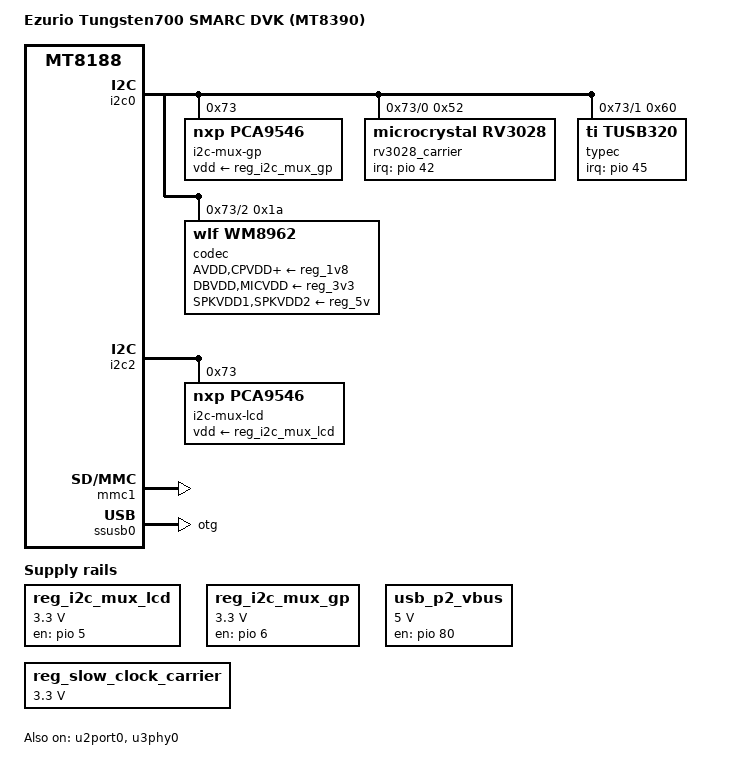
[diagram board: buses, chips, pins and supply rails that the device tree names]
// SPDX-License-Identifier: (GPL-2.0 OR MIT)
/*
 * Copyright (C) 2026 Ezurio LLC
 */

/dts-v1/;

#include "tungsten-mt8390-smarc.dtsi"

/ {
	aliases {
		rtc0 = &rv3028_carrier;
	};

	reg_i2c_mux_lcd: regulator-i2c-mux-lcd {
		compatible = "regulator-fixed";
		regulator-name = "reg_i2c_mux_lcd";
		regulator-min-microvolt = <3300000>;
		regulator-max-microvolt = <3300000>;
		pinctrl-names = "default";
		pinctrl-0 = <&pinctrl_i2c_mux_lcd>;
		gpio = <&pio 5 GPIO_ACTIVE_HIGH>;
		enable-active-high;
	};

	reg_i2c_mux_gp: regulator-i2c-mux-gp {
		compatible = "regulator-fixed";
		regulator-name = "reg_i2c_mux_gp";
		regulator-min-microvolt = <3300000>;
		regulator-max-microvolt = <3300000>;
		pinctrl-names = "default";
		pinctrl-0 = <&pinctrl_i2c_mux_gp>;
		gpio = <&pio 6 GPIO_ACTIVE_HIGH>;
		enable-active-high;
	};

	usb_p2_vbus: regulator-usb-p2-vbus {
		compatible = "regulator-fixed";
		pinctrl-names = "default";
		pinctrl-0 = <&usb2_eth_pins>;
		regulator-name = "vbus_p2";
		regulator-min-microvolt = <5000000>;
		regulator-max-microvolt = <5000000>;
		gpio = <&pio 80 GPIO_ACTIVE_HIGH>;
		enable-active-high;
	};

	reg_slow_clock_carrier: regulator-slow-clock-carrier {
		compatible = "regulator-fixed-clock";

		regulator-name = "reg_slow_clock_carrier";
		regulator-min-microvolt = <3300000>;
		regulator-max-microvolt = <3300000>;

		clocks = <&rv3028_carrier>;

		startup-delay-us = <1000>;
	};
};

&i2c0 {
	status = "okay";

	i2c-mux-gp@73 {
		compatible = "nxp,pca9546";
		reg = <0x73>;
		vdd-supply = <&reg_i2c_mux_gp>;
		#address-cells = <1>;
		#size-cells = <0>;

		i2c_mux_gp_0: i2c@0 {
			reg = <0>;
			#address-cells = <1>;
			#size-cells = <0>;

			rv3028_carrier: rtc@52 {
				compatible = "microcrystal,rv3028";
				reg = <0x52>;

				backup-switchover-dsm;
				interrupts-extended = <&pio 42 IRQ_TYPE_LEVEL_LOW>;
				pinctrl-names = "default";
				pinctrl-0 = <&rv3028_carrier_pins>;
				#clock-cells = <0>;
				wakeup-source;
			};
		};

		i2c_mux_gp_1: i2c@1 {
			reg = <1>;
			#address-cells = <1>;
			#size-cells = <0>;

			typec: typec@60 {
				compatible = "ti,tusb320";
				reg = <0x60>;
				interrupts-extended = <&pio 45 IRQ_TYPE_EDGE_FALLING>;
				pinctrl-names = "default";
				pinctrl-0 = <&tusb320_pins>;
			};
		};

		i2c_mux_gp_2: i2c@2 {
			reg = <2>;
			#address-cells = <1>;
			#size-cells = <0>;

			codec: codec@1a {
				compatible = "wlf,wm8962";
				reg = <0x1a>;
				#sound-dai-cells = <0>;
				clocks = <&topckgen CLK_TOP_I2SO1>;
				AVDD-supply = <&reg_1v8>;
				CPVDD-supply = <&reg_1v8>;
				DBVDD-supply = <&reg_3v3>;
				DCVDD-supply = <&reg_1v8>;
				MICVDD-supply = <&reg_3v3>;
				PLLVDD-supply = <&reg_1v8>;
				SPKVDD1-supply = <&reg_5v>;
				SPKVDD2-supply = <&reg_5v>;
				gpio-cfg = <0x0000 0x0000 0x0000 0x0000 0x8081 0x8095>;
			};
		};

		i2c_mux_gp_3: i2c@3 {
			reg = <3>;
			#address-cells = <1>;
			#size-cells = <0>;
		};
	};
};

&i2c2 {
	status = "okay";

	i2c-mux-lcd@73 {
		compatible = "nxp,pca9546";
		reg = <0x73>;
		vdd-supply = <&reg_i2c_mux_lcd>;
		#address-cells = <1>;
		#size-cells = <0>;

		i2c_mux_lcd_0: i2c@0 {
			reg = <0>;
			#address-cells = <1>;
			#size-cells = <0>;
		};

		i2c_mux_lcd_1: i2c@1 {
			reg = <1>;
			#address-cells = <1>;
			#size-cells = <0>;
		};

		i2c_mux_lcd_2: i2c@2 {
			reg = <2>;
			#address-cells = <1>;
			#size-cells = <0>;
		};

		i2c_mux_lcd_3: i2c@3 {
			reg = <3>;
			#address-cells = <1>;
			#size-cells = <0>;
		};
	};
};

&mmc1 {
	status = "okay";
};

&sound {
	compatible = "mediatek,mt8188-mt6359";
	pinctrl-names = "default";
	pinctrl-0 = <&audio_pins>;
	audio-routing =
		"Headphone", "Headphone L",
		"Headphone", "Headphone R",
		"Headphone", "HPOUTL",
		"Headphone", "HPOUTR",
		"Headphone", "SPKOUTL",
		"Headphone", "SPKOUTR",
		"Headset Mic", "MICBIAS",
		"IN1R", "Headset Mic",
		"IN2R", "Headset Mic",
		"IN3L", "Headset Mic",
		"IN3R", "Headset Mic";
	status = "okay";

	dai-link-1 {
		sound-dai = <&afe>;
		link-name = "ETDM3_OUT_BE";
		status = "disabled";

		codec {
			sound-dai = <&hdmi0>;
		};
	};

	dai-link-2 {
		sound-dai = <&afe>;
		link-name = "DPTX_BE";
		status = "disabled";

		codec {
			sound-dai = <&dp_tx>;
		};
	};

	dai-link-3 {
		sound-dai = <&afe>;
		link-name = "ETDM1_OUT_BE";
		status = "okay";

		codec {
			sound-dai = <&codec>;
		};
	};

	dai-link-4 {
		sound-dai = <&afe>;
		link-name = "ETDM2_IN_BE";
		status = "okay";

		codec {
			sound-dai = <&codec>;
		};
	};
};

&ssusb0 {
	dr_mode = "otg";
	maximum-speed = "high-speed";
	extcon = <&typec>;
	/* VBUS-valid is not sensed by the SoC in device role; BROM forces it, so do the same */
	mediatek,force-vbus;

	status = "okay";
};

&u2port0 {
	status = "okay";
};

&u3phy0 {
	status = "okay";
};

&pio {
	pinctrl_i2c_mux_gp: pinctrl-i2c-mux-gp {
		pins-reset {
			pinmux = <PINMUX_GPIO6__FUNC_B_GPIO6>;
			bias-pull-up;
		};
	};

	pinctrl_i2c_mux_lcd: pinctrl-i2c-mux-lcd {
		pins-reset {
			pinmux = <PINMUX_GPIO5__FUNC_B_GPIO5>;
			bias-pull-down;
		};
	};

	rv3028_carrier_pins: rv3028-carrier-pins {
		pins-irq {
			pinmux = <PINMUX_GPIO42__FUNC_B_GPIO42>;
			bias-pull-up = <MTK_PUPD_SET_R1R0_01>;
			input-enable;
		};
	};

	usb2_eth_pins: usb2-eth-pins {
		pins {
			pinmux = <PINMUX_GPIO80__FUNC_B_GPIO80>;
			output-low;
		};
	};

	tusb320_pins: tusb320-pins {
		pins-irq {
			pinmux = <PINMUX_GPIO45__FUNC_B_GPIO45>;
			bias-pull-up = <MTK_PUPD_SET_R1R0_01>;
			input-enable;
		};
	};
};

/ {
	model = "Ezurio Tungsten700 SMARC DVK (MT8390)";
	compatible = "summit,mt8390-tungsten-smarc-dvk",
		     "summit,mt8390-tungsten-smarc", "mediatek,mt8390",
		     "mediatek,mt8188";
};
